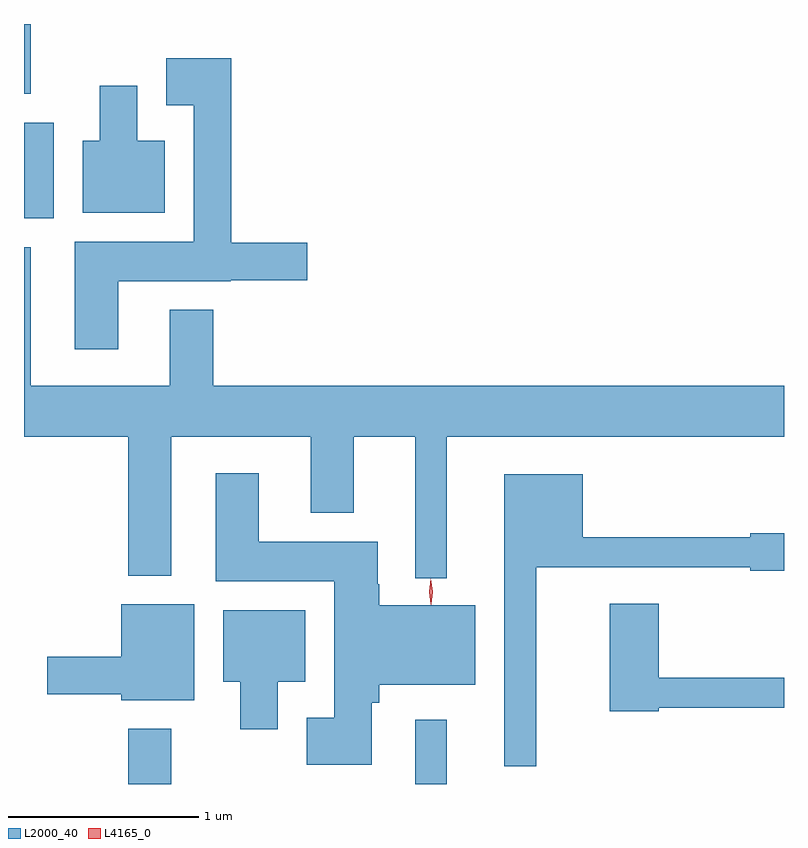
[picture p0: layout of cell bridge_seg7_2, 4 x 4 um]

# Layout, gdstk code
import gdstk
lib = gdstk.Library(unit=1e-6, precision=1e-09)
def R(c, l, rs):  # rectangles x0, y0, x1, y1
    for r in rs: c.add(gdstk.rectangle(r[:2], r[2:], *l))
def P(c, l, *ps):  # polygons
    for p in ps: c.add(gdstk.Polygon(p, *l))
L2000_40 = (2000, 40)
L4165_0 = (4165, 0)

bridge_seg7_2 = lib.new_cell('bridge_seg7_2')
R(bridge_seg7_2, L2000_40, [(1675.711,1739.129,1675.939,1739.419), (1677.221,1739.129,1677.389,1739.468), (1675.163,1742.106,1675.319,1742.609), (1675.163,1742.761,1675.199,1743.129)])
P(bridge_seg7_2, L2000_40, [(1675.659,1741.776),(1676.25,1741.776),(1676.25,1741.781),(1676.654,1741.781),(1676.654,1741.979),(1676.254,1741.979),(1676.254,1742.949),(1675.911,1742.949),(1675.911,1742.701),(1676.056,1742.701),(1676.056,1741.984),(1675.431,1741.984),(1675.431,1741.416),(1675.659,1741.416)],
  [(1675.904,1742.514),(1675.759,1742.514),(1675.759,1742.804),(1675.561,1742.804),(1675.561,1742.514),(1675.471,1742.514),(1675.471,1742.136),(1675.904,1742.136)],
  [(1677.389,1740.956),(1679.163,1740.956),(1679.163,1741.224),(1676.159,1741.224),(1676.159,1741.624),(1675.931,1741.624),(1675.931,1741.224),(1675.199,1741.224),(1675.199,1741.954),(1675.163,1741.954),(1675.163,1740.956),(1675.711,1740.956),(1675.711,1740.226),(1675.939,1740.226),(1675.939,1740.956),(1676.671,1740.956),(1676.671,1740.556),(1676.899,1740.556),(1676.899,1740.956),(1677.221,1740.956),(1677.221,1740.213),(1677.389,1740.213)],
  [(1676.994,1739.556),(1677.034,1739.556),(1677.034,1739.651),(1677.539,1739.651),(1677.539,1740.069),(1677.034,1740.069),(1677.034,1740.18),(1677.024,1740.18),(1677.024,1740.404),(1676.399,1740.404),(1676.399,1740.764),(1676.171,1740.764),(1676.171,1740.196),(1676.796,1740.196),(1676.796,1739.479),(1676.651,1739.479),(1676.651,1739.231),(1676.994,1739.231)],
  [(1677.859,1740.271),(1678.986,1740.271),(1678.986,1740.251),(1679.163,1740.251),(1679.163,1740.449),(1678.986,1740.449),(1678.986,1740.429),(1678.104,1740.429),(1678.104,1740.759),(1677.691,1740.759),(1677.691,1739.223),(1677.859,1739.223)],
  [(1678.504,1739.531),(1679.163,1739.531),(1679.163,1739.689),(1678.504,1739.689),(1678.504,1740.079),(1678.246,1740.079),(1678.246,1739.511),(1678.504,1739.511)],
  [(1676.059,1740.074),(1675.676,1740.074),(1675.676,1739.799),(1675.286,1739.799),(1675.286,1739.601),(1675.676,1739.601),(1675.676,1739.571),(1676.059,1739.571)],
  [(1676.499,1739.666),(1676.644,1739.666),(1676.644,1740.044),(1676.211,1740.044),(1676.211,1739.666),(1676.301,1739.666),(1676.301,1739.416),(1676.499,1739.416)])
P(bridge_seg7_2, L4165_0, [(1677.306,1740.073),(1677.305,1740.074),(1677.295,1740.142),(1677.304,1740.21),(1677.305,1740.21),(1677.305,1740.21),(1677.315,1740.142),(1677.306,1740.074)],
  [(1677.304,1740.082),(1677.295,1740.144),(1677.304,1740.206),(1677.305,1740.207),(1677.305,1740.206),(1677.315,1740.144),(1677.305,1740.082),(1677.305,1740.082)])

lib.write_gds('bridge_seg7_2.gds')
